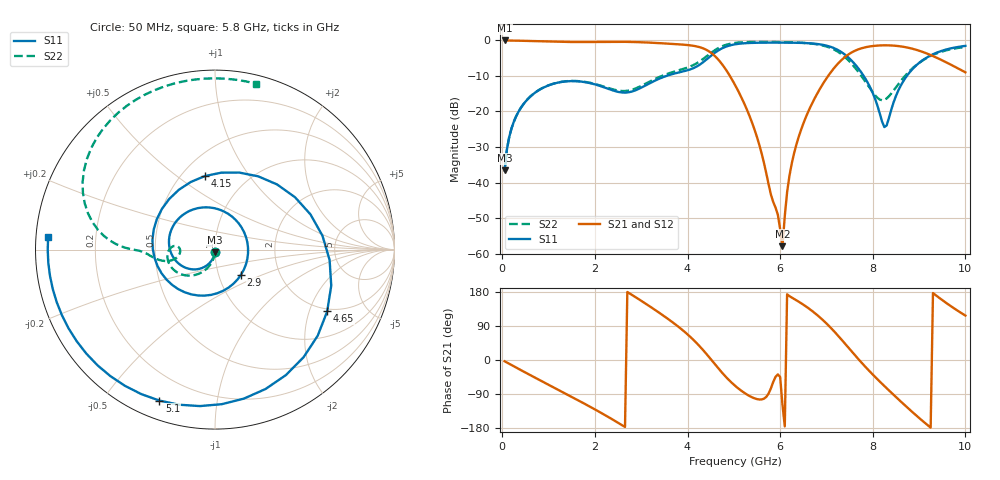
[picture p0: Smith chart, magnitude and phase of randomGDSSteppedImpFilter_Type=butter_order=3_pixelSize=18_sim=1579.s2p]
! freq	dB(S11)	phase(S11)	dB(S12)	phase(S12)
!  dB(S21)	phase(S21)	dB(S22)	phase(S22)
!S-par simulation data
#  GHz  S  DB  R 50
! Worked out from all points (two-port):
!   200 points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, 50 MHz to 10 GHz, reference 50 ohm
!   highest |S21| = -0.01 dB at 50 MHz (marker M1); lowest = -57.9 dB at 6.05 GHz (marker M2)
!   |S21| within 3 dB of the highest: start of sweep to 4.454 GHz; 7.599 GHz to 9.027 GHz (1.428 GHz wide, 17.2 % of centre)
!   lowest |S11| = -36.6 dB at 50 MHz (marker M3), VSWR 1.03, Z = 49.9 - j1.47 ohm
!   |S11| at or under -10 dB: start of sweep to 3.542 GHz; 7.804 GHz to 8.735 GHz (931.9 MHz wide, 11.3 % of centre)
!   |S22| runs from -36.6 to -0.4 dB; largest |S21 - S12| = 0
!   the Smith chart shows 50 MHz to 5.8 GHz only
!   S11 on the Smith chart (normalised r, x): 50 MHz: 1.00, -0.03; 2.9 GHz: 1.28, -0.37; 4.15 GHz: 0.65, +0.64; 4.65 GHz: 1.89, -2.66; 5.1 GHz: 0.08, -0.69; 5.8 GHz: 0.04, +0.04
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0.05  -36.60 -93.0  -0.01 -3.4  -0.01 -3.4  -36.60 -91.9
0.2  -24.74 -105.5  -0.04 -13.4  -0.04 -13.4  -24.72 -101.3
0.5  -17.24 -128.9  -0.13 -33.1  -0.13 -33.1  -17.22 -118.2
1.75  -11.66 128.2  -0.45 -113.7  -0.45 -113.7  -11.60 -176.1
2.9  -13.91 -44.1  -0.47 164.1  -0.47 164.1  -13.40 -168.8
3.4  -10.71 -125.4  -0.77 123.7  -0.77 123.7  -10.24 -168.7
3.85  -8.89 161.9  -1.13 83.2  -1.13 83.2  -8.25 -177.1
4.15  -7.67 97.8  -1.56 50.5  -1.56 50.5  -6.78 179.9
4.4  -5.47 33.2  -2.60 17.2  -2.60 17.2  -4.59 175.0
4.65  -2.93 -28.8  -5.19 -19.8  -5.19 -19.8  -2.28 160.5
5.05  -1.04 -103.1  -13.12 -70.4  -13.12 -70.4  -0.66 129.0
5.1  -0.95 -110.2  -14.37 -75.4  -14.37 -75.4  -0.59 125.3
5.8  -0.61 175.8  -43.36 -74.8  -43.36 -74.8  -0.42 76.1
6.05  -0.61 155.1  -57.91 -118.4  -57.91 -118.4  -0.47 57.9
6.25  -0.64 139.0  -34.67 164.8  -34.67 164.8  -0.54 42.0
6.7  -0.87 101.5  -17.46 128.5  -17.46 128.5  -0.92 -0.5
7.2  -2.39 52.5  -7.23 71.0  -7.23 71.0  -2.82 -66.8
7.75  -8.96 -5.4  -2.24 -6.0  -2.24 -6.0  -9.94 -156.8
8.35  -21.79 -170.5  -1.39 -80.3  -1.39 -80.3  -15.70 175.2
9.05  -5.83 95.1  -3.11 -158.2  -3.11 -158.2  -5.86 113.2
9.5  -2.88 58.7  -5.61 158.1  -5.61 158.1  -3.11 65.4
10  -1.54 25.7  -8.98 117.2  -8.98 117.2  -1.84 19.4
